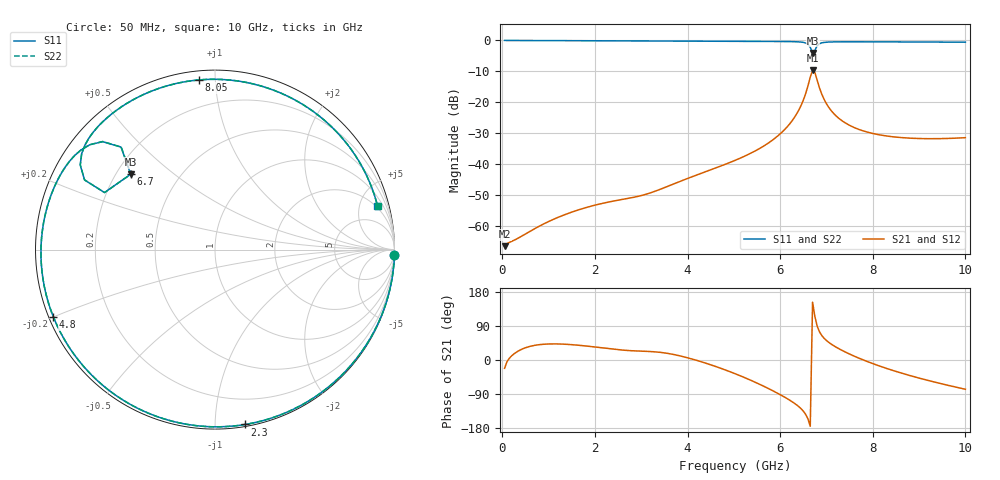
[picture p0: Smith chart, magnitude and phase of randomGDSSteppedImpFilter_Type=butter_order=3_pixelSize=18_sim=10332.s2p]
! freq	dB(S11)	phase(S11)	dB(S12)	phase(S12)
!  dB(S21)	phase(S21)	dB(S22)	phase(S22)
!S-par simulation data
#  GHz  S  DB  R 50
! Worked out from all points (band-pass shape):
!   200 points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, 50 MHz to 10 GHz, reference 50 ohm
!   highest |S21| = -9.71 dB at 6.7 GHz (marker M1); lowest = -66.6 dB at 50 MHz (marker M2)
!   |S21| within 3 dB of the highest: 6.636 GHz to 6.796 GHz (160.4 MHz wide, 2.39 % of centre)
!   lowest |S11| = -4.0 dB at 6.7 GHz (marker M3), VSWR 4.41, Z = 12.9 + j18 ohm
!   |S11| at or under -10 dB: nowhere
!   |S22| runs from -4.0 to 0.0 dB; largest |S21 - S12| = 0
!   S11 on the Smith chart (normalised r, x): 50 MHz: 0, -63; 2.3 GHz: 0.01, -1.19; 4.8 GHz: 0.01, -0.20; 6.7 GHz: 0.26, +0.36; 8.05 GHz: 0.05, +0.91; 10 GHz: 1.75, +7.11
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0.05  -0.00 -1.8  -66.58 -21.9  -66.58 -21.9  -0.00 -1.8
0.85  -0.03 -30.7  -59.71 41.2  -59.71 41.2  -0.03 -30.8
1.75  -0.08 -62.0  -54.34 37.7  -54.34 37.7  -0.08 -62.0
2.3  -0.10 -80.3  -52.28 29.9  -52.28 29.9  -0.10 -80.3
3.4  -0.14 -115.0  -48.23 20.3  -48.23 20.3  -0.14 -115.0
4.8  -0.22 -157.4  -40.18 -25.5  -40.18 -25.5  -0.22 -157.5
5.05  -0.23 -165.1  -38.66 -37.3  -38.66 -37.3  -0.23 -165.1
5.75  -0.29 172.8  -33.16 -75.5  -33.16 -75.5  -0.29 172.7
6.2  -0.36 157.1  -27.11 -105.6  -27.11 -105.6  -0.36 157.0
6.45  -0.52 146.2  -21.10 -128.3  -21.10 -128.3  -0.52 146.2
6.6  -1.22 136.2  -14.74 -155.3  -14.74 -155.3  -1.22 136.1
6.65  -2.22 132.5  -11.88 -174.8  -11.88 -174.8  -2.22 132.4
6.7  -4.01 138.2  -9.71 152.6  -9.71 152.6  -4.02 138.1
6.75  -3.19 152.7  -10.38 114.8  -10.38 114.8  -3.19 152.7
6.85  -1.04 147.9  -15.38 74.2  -15.38 74.2  -1.05 147.8
7  -0.56 138.5  -20.49 51.4  -20.49 51.4  -0.56 138.4
7.2  -0.45 129.3  -24.30 34.4  -24.30 34.4  -0.45 129.3
7.55  -0.43 115.3  -27.85 12.8  -27.85 12.8  -0.43 115.2
8.05  -0.45 95.5  -30.27 -11.7  -30.27 -11.7  -0.45 95.4
8.35  -0.46 83.4  -31.02 -24.3  -31.02 -24.3  -0.46 83.4
9.1  -0.50 52.5  -31.78 -51.0  -31.78 -51.0  -0.50 52.4
10  -0.56 15.1  -31.46 -77.3  -31.46 -77.3  -0.56 15.0
